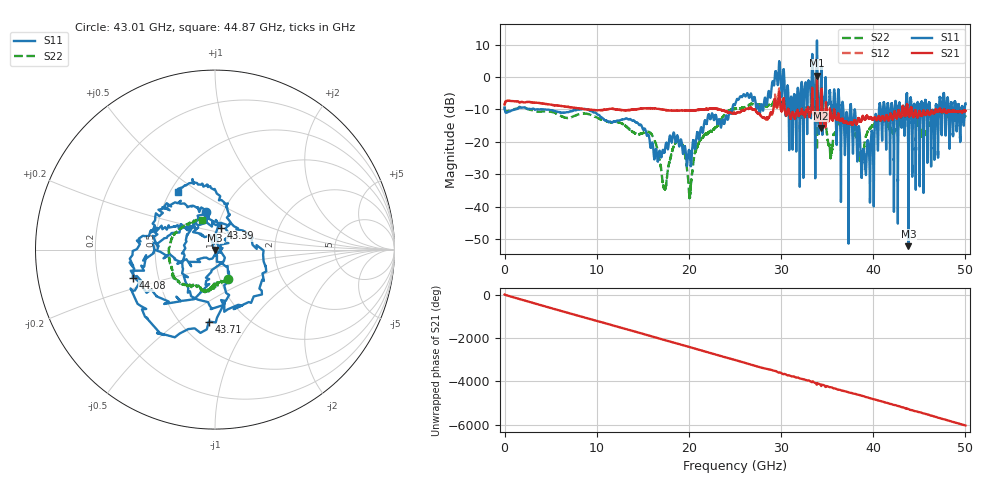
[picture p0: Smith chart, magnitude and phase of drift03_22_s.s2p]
!Created with skrf (http://scikit-rf.org).
# Hz S RI R 50.0
!freq ReS11 ImS11 ReS21 ImS21 ReS12 ImS12 ReS22 ImS22
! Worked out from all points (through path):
!   10001 points, 300 kHz to 50 GHz, reference 50 ohm
!   highest |S21| = 0.42 dB at 33.9 GHz (marker M1); lowest = -15.7 dB at 34.32 GHz (marker M2)
!   group delay of S21, straight-line fit = 335 ps
!   lowest |S11| = -52.1 dB at 43.82 GHz (marker M3), VSWR 1.00, Z = 50 - j0.246 ohm
!   |S11| at or under -10 dB: 4.476 GHz to 7.97 GHz (3.495 GHz wide, 56.2 % of centre); 9.007 GHz to 24.7 GHz (15.69 GHz wide, 93.1 % of centre); 38.01 GHz to 40.63 GHz (2.614 GHz wide, 6.65 % of centre) (the widest 3 of 64)
!   |S22| runs from -37.3 to -5.9 dB; largest |S21 - S12| = 0.11
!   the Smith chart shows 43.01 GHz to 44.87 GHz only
!   S11 on the Smith chart (normalised r, x): 43.01 GHz: 0.83, +0.37; 43.39 GHz: 1.04, +0.25; 43.71 GHz: 0.68, -0.65; 44.08 GHz: 0.36, -0.15; 44.87 GHz: 0.55, +0.42
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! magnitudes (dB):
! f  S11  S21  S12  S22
! 300 kHz  -9.4  -8.5  -8.5  -9.3
! 8.335 GHz  -9.9  -9.8  -9.8  -11.3
! 16.67 GHz  -25.5  -9.8  -9.8  -23.5
! 17.37 GHz  -23.0  -10.1  -10.1  -34.6
! 19.05 GHz  -20.2  -10.3  -10.3  -19.9
! 20.12 GHz  -24.2  -10.3  -10.3  -35.5
! 21.19 GHz  -17.9  -10.1  -10.1  -19.5
! 25 GHz  -8.6  -11.1  -11.1  -9.8
! 29.66 GHz  -2.4  -8.3  -8.4  -7.2
! 31.08 GHz  -6.1  -12.7  -12.7  -10.5
! 33.34 GHz  0.3  -7.6  -7.6  -9.4
! 33.9 GHz  11.3  0.4  0.0  -22.5
! 34.32 GHz  -2.8  -15.7  -15.1  -11.3
! 38.97 GHz  -23.2  -12.5  -12.7  -23.1
! 41.67 GHz  -9.7  -13.3  -13.3  -14.9
! 43.01 GHz  -13.2  -12.3  -12.4  -14.8
! 43.39 GHz  -18.1  -11.6  -11.7  -13.1
! 43.71 GHz  -7.9  -8.8  -9.3  -12.9
! 43.82 GHz  -52.1  -11.1  -11.2  -12.1
! 44.08 GHz  -6.3  -10.1  -9.8  -11.2
! 44.87 GHz  -8.3  -12.1  -12.2  -14.8
! 50 GHz  -8.1  -10.4  -10.6  -12.2
